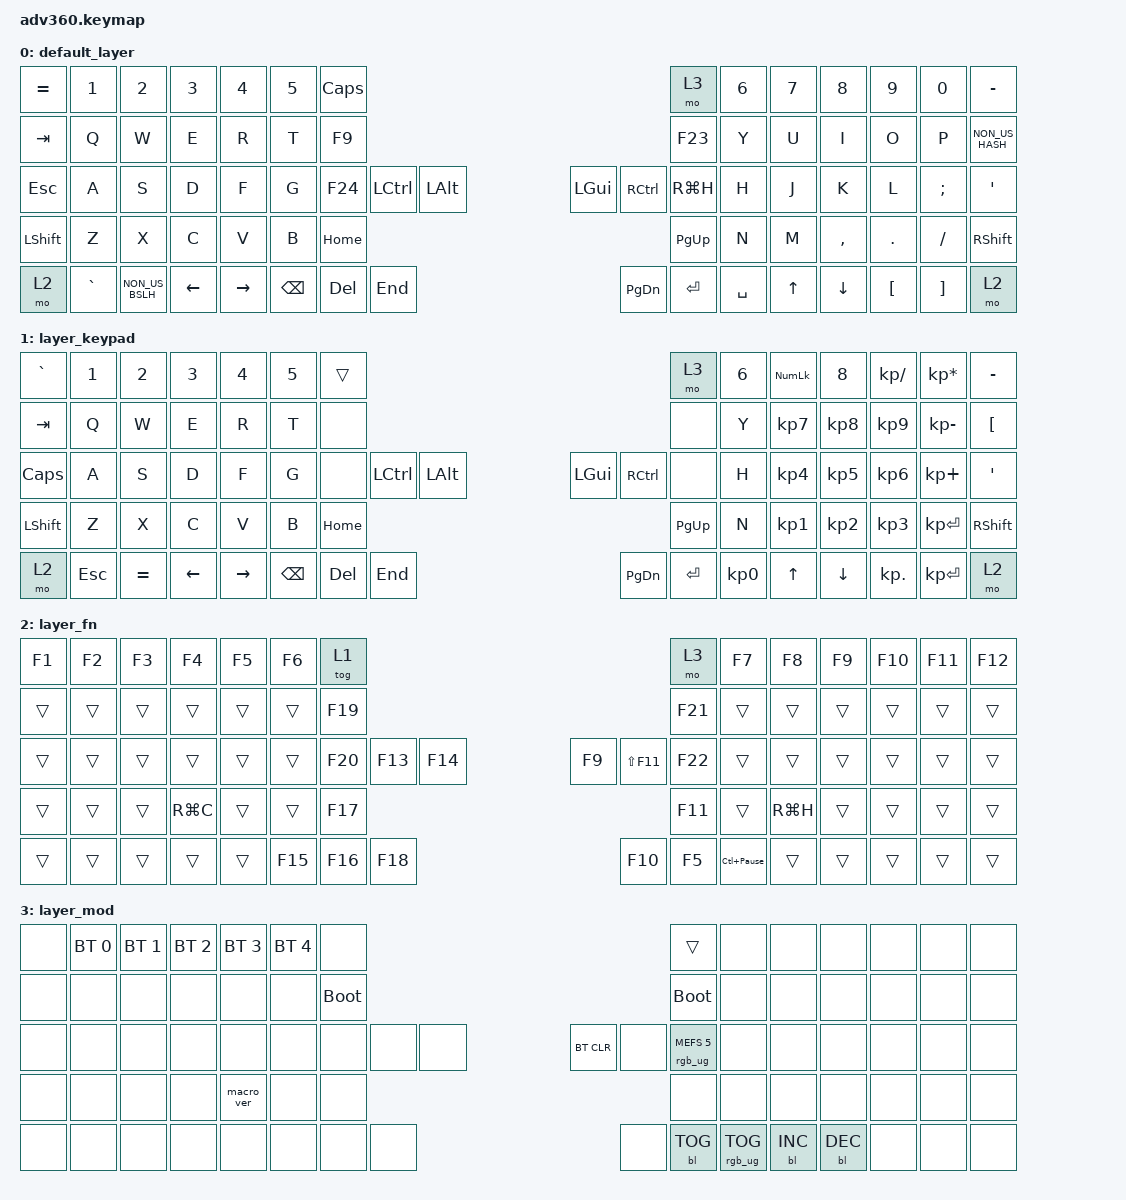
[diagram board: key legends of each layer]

/*
 * Copyright (c) 2020 The ZMK Contributors
 *
 * SPDX-License-Identifier: MIT
 */


/* THIS FILE WAS GENERATED!
 *
 * This file was generated automatically. You may or may not want to
 * edit it directly.
 */

#include <behaviors.dtsi>
#include <dt-bindings/zmk/keys.h>
#include <dt-bindings/zmk/bt.h>
#include <dt-bindings/zmk/rgb.h>
#include <dt-bindings/zmk/backlight.h>

/ {
  behaviors {
    #include "macros.dtsi"
    #include "version.dtsi"

    hm: homerow_mods {
        compatible = "zmk,behavior-hold-tap";
        label = "HOMEROW_MODS";
        #binding-cells = <2>;
        tapping-term-ms = <200>;
        quick_tap_ms = <175>;
        flavor = "tap-preferred";
        bindings = <&kp>, <&kp>;
    };
  };

    keymap {
        compatible = "zmk,keymap";


        default_layer {
            bindings = <
 &kp EQUAL     &kp N1           &kp N2    &kp N3     &kp N4  &kp N5            &kp CAPS                                                                 &mo 3  &kp N6  &kp N7     &kp N8            &kp N9             &kp N0         &kp MINUS
   &kp TAB      &kp Q            &kp W     &kp E      &kp R   &kp T              &kp F9                                                               &kp F23   &kp Y   &kp U      &kp I             &kp O              &kp P   &kp NON_US_HASH
   &kp ESC      &kp A            &kp S     &kp D      &kp F   &kp G             &kp F24  &kp LCTRL  &kp LALT                   &kp LGUI  &kp RCTRL  &kp RG(H)   &kp H   &kp J      &kp K             &kp L      &kp SEMICOLON  &kp SINGLE_QUOTE
 &kp LSHFT      &kp Z            &kp X     &kp C      &kp V   &kp B                                 &kp HOME                  &kp PG_UP                         &kp N   &kp M  &kp COMMA           &kp DOT           &kp FSLH         &kp RSHFT
     &mo 2  &kp GRAVE  &kp NON_US_BSLH  &kp LEFT  &kp RIGHT                    &kp BSPC    &kp DEL   &kp END                  &kp PG_DN  &kp ENTER  &kp SPACE          &kp UP   &kp DOWN  &kp LEFT_BRACKET  &kp RIGHT_BRACKET             &mo 2
            >;
        };

        layer_keypad {
            bindings = <
 &kp GRAVE   &kp N1     &kp N2    &kp N3     &kp N4  &kp N5              &trans                                                                 &mo 3  &kp N6  &kp KP_NUM     &kp N8  &kp KP_DIVIDE  &kp KP_MULTIPLY         &kp MINUS
   &kp TAB    &kp Q      &kp W     &kp E      &kp R   &kp T               &none                                                                 &none   &kp Y   &kp KP_N7  &kp KP_N8      &kp KP_N9     &kp KP_MINUS  &kp LEFT_BRACKET
  &kp CAPS    &kp A      &kp S     &kp D      &kp F   &kp G               &none  &kp LCTRL  &kp LALT                   &kp LGUI  &kp RCTRL      &none   &kp H   &kp KP_N4  &kp KP_N5      &kp KP_N6      &kp KP_PLUS  &kp SINGLE_QUOTE
 &kp LSHFT    &kp Z      &kp X     &kp C      &kp V   &kp B                                 &kp HOME                  &kp PG_UP                         &kp N   &kp KP_N1  &kp KP_N2      &kp KP_N3     &kp KP_ENTER         &kp RSHFT
     &mo 2  &kp ESC  &kp EQUAL  &kp LEFT  &kp RIGHT                    &kp BSPC    &kp DEL   &kp END                  &kp PG_DN  &kp ENTER  &kp KP_N0              &kp UP   &kp DOWN     &kp KP_DOT     &kp KP_ENTER             &mo 2
            >;
        };

        layer_fn {
            bindings = <
 &kp F1  &kp F2  &kp F3     &kp F4  &kp F5  &kp F6             &tog 1                                                                        &mo 3  &kp F7     &kp F8  &kp F9  &kp F10  &kp F11  &kp F12
 &trans  &trans  &trans     &trans  &trans  &trans            &kp F19                                                                      &kp F21  &trans     &trans  &trans   &trans   &trans   &trans
 &trans  &trans  &trans     &trans  &trans  &trans            &kp F20  &kp F13  &kp F14                   &kp F9  &kp LS(F11)              &kp F22  &trans     &trans  &trans   &trans   &trans   &trans
 &trans  &trans  &trans  &kp RG(C)  &trans  &trans                              &kp F17                  &kp F11                                    &trans  &kp RG(H)  &trans   &trans   &trans   &trans
 &trans  &trans  &trans     &trans  &trans                    &kp F15  &kp F16  &kp F18                  &kp F10       &kp F5  &kp LC(PAUSE_BREAK)             &trans  &trans   &trans   &trans   &trans
            >;
        };

        layer_mod {
            bindings = <
  &none  &bt BT_SEL 0  &bt BT_SEL 1  &bt BT_SEL 2  &bt BT_SEL 3  &bt BT_SEL 4                  &none                                                                          &trans   &none       &none       &none   &none   &none   &none
  &none         &none         &none         &none         &none         &none            &bootloader                                                                     &bootloader   &none       &none       &none   &none   &none   &none
  &none         &none         &none         &none         &none         &none                  &none   &none   &none                  &bt BT_CLR       &none  &rgb_ug RGB_MEFS_CMD 5   &none       &none       &none   &none   &none   &none
  &none         &none         &none         &none    &macro_ver         &none                                  &none                       &none                                       &none       &none       &none   &none   &none   &none
  &none         &none         &none         &none         &none                                &none   &none   &none                       &none  &bl BL_TOG         &rgb_ug RGB_TOG          &bl BL_INC  &bl BL_DEC   &none   &none   &none
            >;
        };

    };
};
